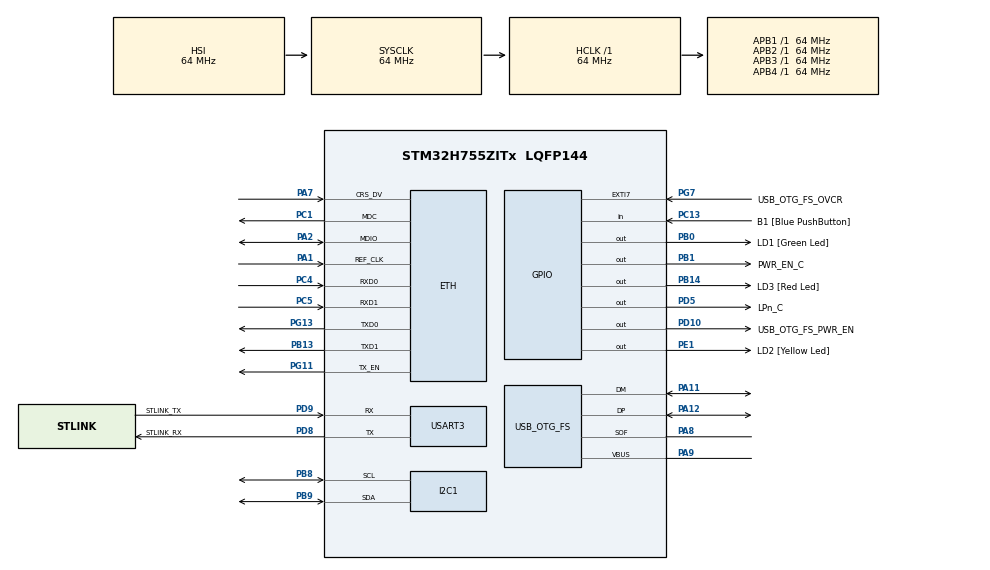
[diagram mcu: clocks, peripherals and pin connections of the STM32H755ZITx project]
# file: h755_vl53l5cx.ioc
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PH0-OSC_IN\ (PH0).PinAttribute=CortexM7
Dma.I2C1_RX.0.SyncPolarity=HAL_DMAMUX_SYNC_NO_EVENT
Dma.I2C1_TX.1.Mode=DMA_NORMAL
PB14.GPIO_Label=LD3 [Red Led]
RCC.PLLFRACN=0
Dma.I2C1_TX.1.Polarity=HAL_DMAMUX_REQ_GEN_RISING
PC5.Mode=RMII
PB13.Signal=ETH_TXD1
PG13.Signal=ETH_TXD0
PB8.PinAttribute=CortexM7
Dma.USART3_TX.2.Priority=DMA_PRIORITY_LOW
USART3.VirtualMode-Asynchronous=VM_ASYNC
Dma.USART3_TX.2.RequestNumber=1
Dma.I2C1_RX.0.PeriphDataAlignment=DMA_PDATAALIGN_BYTE
PD8.Signal=USART3_TX
Dma.USART3_TX.2.Mode=DMA_NORMAL
PE1.Signal=GPIO_Output
Dma.I2C1_RX.0.SyncRequestNumber=1
Dma.I2C1_RX.0.Mode=DMA_NORMAL
RCC.DIVM1=1
PD8.PinAttribute=CortexM7
PB1.GPIO_Label=PWR_EN_C
VP_SYS_M4_VS_Systick.Mode=SysTick
PA8.Signal=USB_OTG_FS_SOF
CortexM7.Pins=PB1,PD5
Dma.I2C1_RX.0.Direction=DMA_PERIPH_TO_MEMORY
Dma.USART3_TX.2.SignalID=NONE
Dma.I2C1_TX.1.SyncRequestNumber=1
PA7.PinAttribute=CortexM7
Mcu.Package=LQFP144
PB9.Signal=I2C1_SDA
PB1.Signal=GPIO_Output
Dma.USART3_TX.2.SyncEnable=DISABLE
RCC.PLL3FRACN=0
Dma.USART3_TX.2.SyncSignalID=NONE
PC14-OSC32_IN\ (OSC32_IN).Mode=LSE-External-Oscillator
RCC.APB4Freq_Value=64000000
PB13.Mode=RMII
PH0-OSC_IN\ (PH0).Mode=HSE-External-Clock-Source
RCC.SupplySource=PWR_DIRECT_SMPS_SUPPLY
PC4.Mode=RMII
Dma.I2C1_TX.1.PeriphDataAlignment=DMA_PDATAALIGN_BYTE
Dma.I2C1_TX.1.RequestNumber=1
Dma.I2C1_RX.0.PeriphInc=DMA_PINC_DISABLE
RCC.DIVQ1=4
PD9.GPIO_Label=STLINK_TX
PA1.PinAttribute=CortexM7
PC13.Signal=GPIO_Input
PA9.PinAttribute=CortexM7
RCC.PWR_Regulator_Voltage_Scale=PWR_REGULATOR_VOLTAGE_SCALE2
PG13.PinAttribute=CortexM7
Dma.USART3_TX.2.PeriphInc=DMA_PINC_DISABLE
PD10.Signal=GPIO_Output
PA12.PinAttribute=CortexM7
PA2.PinAttribute=CortexM7
PA9.Signal=USB_OTG_FS_VBUS
Dma.I2C1_RX.0.MemInc=DMA_MINC_ENABLE
RCC.DIVN1=24
PD8.Mode=Asynchronous
Dma.I2C1_TX.1.SyncPolarity=HAL_DMAMUX_SYNC_NO_EVENT
PB14.Signal=GPIO_Output
Dma.USART3_TX.2.SyncRequestNumber=1
PG11.PinAttribute=CortexM7
PE1.GPIO_Label=LD2 [Yellow Led]
Dma.I2C1_TX.1.Priority=DMA_PRIORITY_LOW
PB9.PinAttribute=CortexM7
PB1.PinAttribute=CortexM7
PA1.Mode=RMII
PA11.PinAttribute=CortexM7
PG7.GPIO_Label=USB_OTG_FS_OVCR
Dma.I2C1_TX.1.MemInc=DMA_MINC_ENABLE
Dma.I2C1_TX.1.SignalID=NONE
PE1.PinAttribute=Free
ETH.MediaInterface=HAL_ETH_RMII_MODE
PA8.PinAttribute=CortexM7
Dma.I2C1_TX.1.SyncSignalID=NONE
Dma.USART3_TX.2.FIFOMode=DMA_FIFOMODE_DISABLE
PG11.Mode=RMII
PA11.Signal=USB_OTG_FS_DM
Dma.I2C1_TX.1.EventEnable=DISABLE
ProjectManager.HeapSize=0x200
PD9.PinAttribute=CortexM7
NVIC1.DMA1_Stream0_IRQn=true\:0\:0\:false\:false\:true\:false\:true
Dma.USART3_TX.2.Instance=DMA1_Stream2
PB8.Mode=I2C
PA8.Mode=Activate_SOF_FS
Dma.I2C1_RX.0.EventEnable=DISABLE
PC1.PinAttribute=CortexM7
PB0.Signal=GPIO_Output
PC1.Signal=ETH_MDC
PC1.Mode=RMII
Mcu.Family=STM32H7
Dma.USART3_TX.2.SyncPolarity=HAL_DMAMUX_SYNC_NO_EVENT
RCC.CortexFreq_Value=64000000
PG7.PinAttribute=Free
PH0-OSC_IN\ (PH0).Signal=RCC_OSC_IN
PC15-OSC32_OUT\ (OSC32_OUT).Mode=LSE-External-Oscillator
PA11.Mode=Device_Only
NVIC1.I2C1_EV_IRQn=true\:0\:0\:false\:false\:true\:true\:true
PB0.GPIO_Label=LD1 [Green Led]
RCC.PLL2FRACN=0
PC13.GPIO_Label=B1 [Blue PushButton]
PD9.Mode=Asynchronous
PG11.Signal=ETH_TX_EN
ProjectManager.StackSize=0x400
Dma.I2C1_RX.0.SignalID=NONE
Dma.I2C1_TX.1.Direction=DMA_MEMORY_TO_PERIPH
Dma.USART3_TX.2.EventEnable=DISABLE
PA12.Signal=USB_OTG_FS_DP
NVIC1.I2C1_ER_IRQn=true\:0\:0\:false\:false\:true\:true\:true
RCC.HCLKFreq_Value=64000000
Dma.I2C1_TX.1.PeriphInc=DMA_PINC_DISABLE
Dma.I2C1_RX.0.Priority=DMA_PRIORITY_LOW
PB0.PinAttribute=Free
RCC.HSE_VALUE=8000000
NVIC2.PriorityGroup=NVIC_PRIORITYGROUP_4
PG13.Mode=RMII
Dma.USART3_TX.2.Polarity=HAL_DMAMUX_REQ_GEN_RISING
CortexM7.IPs=FATFS_M7\:I,FREERTOS_M7\:I,IWDG1\:I,RCC\:I,WWDG1\:I,DMA\:I,BDMA\:I,MDMA\:I,NVIC1\:I,ETH\:I,USART3\:I,USB_OTG_FS\:I,SYS\:I,CORTEX_M7\:I,DEBUG\:I,USB_DEVICE_M7\:I,USB_HOST_M7\:I,PDM2PCM_M7\:I,PWR\:I,RESMGR_UTILITY\:I,OPENAMP_M7\:I,VREFBUF\:I,I2C1\:I
PD10.PinAttribute=Free
NVIC1.DMA1_Stream2_IRQn=true\:0\:0\:false\:false\:true\:false\:true
RCC.APB3Freq_Value=64000000
PB1.PinState=GPIO_PIN_SET
PD5.GPIO_Label=LPn_C
USB_OTG_FS.VirtualMode=Device_Only
Dma.I2C1_RX.0.SyncSignalID=NONE
Dma.Request2=USART3_TX
Dma.Request1=I2C1_TX
PC5.Signal=ETH_RXD1
Dma.Request0=I2C1_RX
Dma.I2C1_TX.1.SyncEnable=DISABLE
PH1-OSC_OUT\ (PH1).PinAttribute=CortexM7
PB14.PinAttribute=Free
Dma.I2C1_RX.0.MemDataAlignment=DMA_MDATAALIGN_BYTE
Dma.USART3_TX.2.PeriphDataAlignment=DMA_PDATAALIGN_BYTE
PA7.Mode=RMII
PG7.Signal=GPXTI7
Dma.USART3_TX.2.MemInc=DMA_MINC_ENABLE
Dma.I2C1_RX.0.SyncEnable=DISABLE
PC4.Signal=ETH_RXD0
NVIC1.PriorityGroup=NVIC_PRIORITYGROUP_4
PD9.Signal=USART3_RX
PD5.Signal=GPIO_Output
Dma.I2C1_RX.0.Polarity=HAL_DMAMUX_REQ_GEN_RISING
PH1-OSC_OUT\ (PH1).Signal=RCC_OSC_OUT
PB13.PinAttribute=CortexM7
PD8.GPIO_Label=STLINK_RX
NVIC1.DMA1_Stream1_IRQn=true\:0\:0\:false\:false\:true\:false\:true
PA9.Mode=Activate_VBUS
ProjectManager.TargetToolchain=STM32CubeIDE
PC15-OSC32_OUT\ (OSC32_OUT).Signal=RCC_OSC32_OUT
PC14-OSC32_IN\ (OSC32_IN).PinAttribute=CortexM7
PB9.Mode=I2C
Dma.USART3_TX.2.Direction=DMA_MEMORY_TO_PERIPH
Dma.I2C1_TX.1.Instance=DMA1_Stream1
PC4.PinAttribute=CortexM7
RCC.USBFreq_Value=48000000
PD10.GPIO_Label=USB_OTG_FS_PWR_EN
PA1.Signal=ETH_REF_CLK
NVIC1.USART3_IRQn=true\:0\:0\:false\:false\:true\:true\:true
board=NUCLEO-H755ZI-Q
Dma.I2C1_RX.0.RequestNumber=1
Dma.I2C1_TX.1.FIFOMode=DMA_FIFOMODE_DISABLE
Dma.USART3_TX.2.MemDataAlignment=DMA_MDATAALIGN_BYTE
RCC.APB2Freq_Value=64000000
RCC.ADCFreq_Value=16125000
Dma.I2C1_TX.1.MemDataAlignment=DMA_MDATAALIGN_BYTE
PD5.PinState=GPIO_PIN_SET
Mcu.Name=STM32H755ZITx
PA2.Signal=ETH_MDIO
PC13.PinAttribute=Free
RCC.SYSCLKFreq_VALUE=64000000
PA12.Mode=Device_Only
PC14-OSC32_IN\ (OSC32_IN).Signal=RCC_OSC32_IN
Dma.I2C1_RX.0.FIFOMode=DMA_FIFOMODE_DISABLE
PD5.PinAttribute=CortexM7
PC15-OSC32_OUT\ (OSC32_OUT).PinAttribute=CortexM7
PA2.Mode=RMII
PC5.PinAttribute=CortexM7
PB8.Signal=I2C1_SCL
RCC.APB1Freq_Value=64000000
Dma.I2C1_RX.0.Instance=DMA1_Stream0
PA7.Signal=ETH_CRS_DV
CortexM4.IPs=FATFS_M4\:I,FREERTOS_M4\:I,IWDG2\:I,RCC,WWDG2\:I,DMA,BDMA,MDMA,NVIC2\:I,ETH,USART3,DEBUG,USB_DEVICE_M4\:I,USB_HOST_M4\:I,PDM2PCM_M4\:I,PWR,RESMGR_UTILITY,SYS_M4\:I,CORTEX_M4\:I,OPENAMP_M4\:I,VREFBUF,I2C1

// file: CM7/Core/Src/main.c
/* USER CODE BEGIN Header */
/**
 ******************************************************************************
 * @file           : main.c
 * @brief          : Main program body
 ******************************************************************************
 * @attention
 *
 * <h2><center>&copy; Copyright (c) 2021 STMicroelectronics.
 * All rights reserved.</center></h2>
 *
 * This software component is licensed by ST under BSD 3-Clause license,
 * the "License"; You may not use this file except in compliance with the
 * License. You may obtain a copy of the License at:
 *                        opensource.org/licenses/BSD-3-Clause
 *
 ******************************************************************************
 */
/* USER CODE END Header */
#include "main.h"
#include "string.h"

/* USER CODE BEGIN Includes */
// NCS BEGIN
#include <stdio.h>
#include "vl53l5cx_api.h"
#include "vl53l5cx_plugin_async.h"
// NCS END
/* USER CODE END Includes */

/* USER CODE BEGIN PD */

#ifndef HSEM_ID_0
#define HSEM_ID_0 (0U) /* HW semaphore 0*/
#endif
/* USER CODE END PD */

#if defined ( __ICCARM__ ) /*!< IAR Compiler */

#pragma location=0x30040000
ETH_DMADescTypeDef  DMARxDscrTab[ETH_RX_DESC_CNT]; /* Ethernet Rx DMA Descriptors */
#pragma location=0x30040060
ETH_DMADescTypeDef  DMATxDscrTab[ETH_TX_DESC_CNT]; /* Ethernet Tx DMA Descriptors */
#pragma location=0x30040200
uint8_t Rx_Buff[ETH_RX_DESC_CNT][ETH_MAX_PACKET_SIZE]; /* Ethernet Receive Buffers */

#elif defined ( __CC_ARM )  /* MDK ARM Compiler */

__attribute__((at(0x30040000))) ETH_DMADescTypeDef  DMARxDscrTab[ETH_RX_DESC_CNT]; /* Ethernet Rx DMA Descriptors */
__attribute__((at(0x30040060))) ETH_DMADescTypeDef  DMATxDscrTab[ETH_TX_DESC_CNT]; /* Ethernet Tx DMA Descriptors */
__attribute__((at(0x30040200))) uint8_t Rx_Buff[ETH_RX_DESC_CNT][ETH_MAX_PACKET_SIZE]; /* Ethernet Receive Buffer */

#elif defined ( __GNUC__ ) /* GNU Compiler */

ETH_DMADescTypeDef DMARxDscrTab[ETH_RX_DESC_CNT] __attribute__((section(".RxDecripSection"))); /* Ethernet Rx DMA Descriptors */
ETH_DMADescTypeDef DMATxDscrTab[ETH_TX_DESC_CNT] __attribute__((section(".TxDecripSection"))); /* Ethernet Tx DMA Descriptors */
uint8_t Rx_Buff[ETH_RX_DESC_CNT][ETH_MAX_PACKET_SIZE] __attribute__((section(".RxArraySection"))); /* Ethernet Receive Buffers */

#endif

ETH_TxPacketConfig TxConfig;

ETH_HandleTypeDef heth;

I2C_HandleTypeDef hi2c1;
DMA_HandleTypeDef hdma_i2c1_rx;
DMA_HandleTypeDef hdma_i2c1_tx;

UART_HandleTypeDef huart3;
DMA_HandleTypeDef hdma_usart3_tx;

PCD_HandleTypeDef hpcd_USB_OTG_FS;

/* USER CODE BEGIN PV */
VL53L5CX_Configuration vl53l5cx;
/* USER CODE END PV */

void SystemClock_Config(void);
static void MX_GPIO_Init(void);
static void MX_DMA_Init(void);
static void MX_ETH_Init(void);
static void MX_USART3_UART_Init(void);
static void MX_USB_OTG_FS_PCD_Init(void);
static void MX_I2C1_Init(void);

/* USER CODE BEGIN 0 */
// NCS BEGIN
void HAL_I2C_MemRxCpltCallback(I2C_HandleTypeDef *hi2c)
{
	// First we determine if the i2c interrupt came from a "check_data_ready" or "get_ranging_data" request.
	// This is done via the *_in_progress calls.
	if (vl53l5cx_check_data_ready_async_in_progress(&vl53l5cx))
	{
		uint8_t ready = 0;
		// Collect the response. True if the sensor have data ready to be read.
		vl53l5cx_check_data_ready_async_finish(&vl53l5cx, &ready);
		if (ready)
		{
			vl53l5cx_get_ranging_data_async_start(&vl53l5cx); // Send request to read ranging data
		}
		else
		{
			vl53l5cx_check_data_ready_async_start(&vl53l5cx); // Try again to ask if data is ready
		}
	}

	else if (vl53l5cx_get_ranging_data_async_in_progress(&vl53l5cx)) // Check if last request was a "get_ranging_data" request
	{
		VL53L5CX_ResultsData data;
		vl53l5cx_get_ranging_data_async_finish(&vl53l5cx, &data); // Read the ranging data from the buffer where it is stored.
		static char buf[32];
		sprintf(buf, "distance: %i\n", data.distance_mm[28]);
		HAL_UART_Transmit_DMA(&huart3, (uint8_t*) buf, strlen(buf)); // Sends the data over uart for pc to receive
		vl53l5cx_check_data_ready_async_start(&vl53l5cx); // Check if sensor is ready for a new measurement to be read.
	}
}
// NCS END

/* USER CODE END 0 */

int main(void)
{
	/* USER CODE BEGIN Boot_Mode_Sequence_0 */
	int32_t timeout;
	/* USER CODE END Boot_Mode_Sequence_0 */

	/* USER CODE BEGIN Boot_Mode_Sequence_1 */
	/* Wait until CPU2 boots and enters in stop mode or timeout*/
	timeout = 0xFFFF;
	while ((__HAL_RCC_GET_FLAG(RCC_FLAG_D2CKRDY) != RESET) && (timeout-- > 0))
		;
	if (timeout < 0)
	{
		Error_Handler();
	}
	/* USER CODE END Boot_Mode_Sequence_1 */
	/* MCU Configuration--------------------------------------------------------*/

	/* Reset of all peripherals, Initializes the Flash interface and the Systick. */
	HAL_Init();

	/* Configure the system clock */
	SystemClock_Config();
	/* USER CODE BEGIN Boot_Mode_Sequence_2 */
	/* When system initialization is finished, Cortex-M7 will release Cortex-M4 by means of
	 HSEM notification */
	/*HW semaphore Clock enable*/
	__HAL_RCC_HSEM_CLK_ENABLE();
	/*Take HSEM */
	HAL_HSEM_FastTake(HSEM_ID_0);
	/*Release HSEM in order to notify the CPU2(CM4)*/
	HAL_HSEM_Release(HSEM_ID_0, 0);
	/* wait until CPU2 wakes up from stop mode */
	timeout = 0xFFFF;
	while ((__HAL_RCC_GET_FLAG(RCC_FLAG_D2CKRDY) == RESET) && (timeout-- > 0))
		;
	if (timeout < 0)
	{
		Error_Handler();
	}
	/* USER CODE END Boot_Mode_Sequence_2 */

	/* Initialize all configured peripherals */
	MX_GPIO_Init();
	MX_DMA_Init();
	MX_ETH_Init();
	MX_USART3_UART_Init();
	MX_USB_OTG_FS_PCD_Init();
	MX_I2C1_Init();
	/* USER CODE BEGIN 2 */

	// NCS BEGIN

	// Specify what i2c peripheral to communicate via
	vl53l5cx.platform.hi2c = &hi2c1;
	vl53l5cx.platform.address = VL53L5CX_DEFAULT_I2C_ADDRESS; //0x52 is standard i2c address

	uint8_t is_alive = 0;
	vl53l5cx_is_alive(&vl53l5cx, &is_alive); // Successful i2c message sent and received
	if (!is_alive)
	{
		return 1;
	}
	vl53l5cx_init(&vl53l5cx); // Mandatory init function, flashes necessary firmware to the sensor.
	/*
	 * Configuration of the sensor
	 */
	vl53l5cx_set_ranging_frequency_hz(&vl53l5cx, 5);
	vl53l5cx_set_resolution(&vl53l5cx, VL53L5CX_RESOLUTION_8X8);
	vl53l5cx_set_ranging_mode(&vl53l5cx, VL53L5CX_RANGING_MODE_CONTINUOUS);

	vl53l5cx_start_ranging(&vl53l5cx); // Tell the sensor to start doing measurment

	// Start an async process to determine if the sensor has a measurement ready to be read.
	// HAL_I2C_MemRxCpltCallback will be the interrupt called when the sensor has answered whether it is ready or not.
	vl53l5cx_check_data_ready_async_start(&vl53l5cx);

	// NCS END

	/* USER CODE END 2 */

	/* Infinite loop */
	while (1)
	{

	}
}

void SystemClock_Config(void)
{
	RCC_OscInitTypeDef RCC_OscInitStruct =
	{ 0 };
	RCC_ClkInitTypeDef RCC_ClkInitStruct =
	{ 0 };

	/** Supply configuration update enable
	 */
	HAL_PWREx_ConfigSupply(PWR_DIRECT_SMPS_SUPPLY);
	/** Configure the main internal regulator output voltage
	 */
	__HAL_PWR_VOLTAGESCALING_CONFIG(PWR_REGULATOR_VOLTAGE_SCALE2);

	while (!__HAL_PWR_GET_FLAG(PWR_FLAG_VOSRDY))
	{
	}
	/** Initializes the RCC Oscillators according to the specified parameters
	 * in the RCC_OscInitTypeDef structure.
	 */
	RCC_OscInitStruct.OscillatorType = RCC_OSCILLATORTYPE_HSI
			| RCC_OSCILLATORTYPE_HSE;
	RCC_OscInitStruct.HSEState = RCC_HSE_BYPASS;
	RCC_OscInitStruct.HSIState = RCC_HSI_DIV1;
	RCC_OscInitStruct.HSICalibrationValue = RCC_HSICALIBRATION_DEFAULT;
	RCC_OscInitStruct.PLL.PLLState = RCC_PLL_ON;
	RCC_OscInitStruct.PLL.PLLSource = RCC_PLLSOURCE_HSE;
	RCC_OscInitStruct.PLL.PLLM = 1;
	RCC_OscInitStruct.PLL.PLLN = 24;
	RCC_OscInitStruct.PLL.PLLP = 2;
	RCC_OscInitStruct.PLL.PLLQ = 4;
	RCC_OscInitStruct.PLL.PLLR = 2;
	RCC_OscInitStruct.PLL.PLLRGE = RCC_PLL1VCIRANGE_3;
	RCC_OscInitStruct.PLL.PLLVCOSEL = RCC_PLL1VCOWIDE;
	RCC_OscInitStruct.PLL.PLLFRACN = 0;
	if (HAL_RCC_OscConfig(&RCC_OscInitStruct) != HAL_OK)
	{
		Error_Handler();
	}
	/** Initializes the CPU, AHB and APB buses clocks
	 */
	RCC_ClkInitStruct.ClockType = RCC_CLOCKTYPE_HCLK | RCC_CLOCKTYPE_SYSCLK
			| RCC_CLOCKTYPE_PCLK1 | RCC_CLOCKTYPE_PCLK2 | RCC_CLOCKTYPE_D3PCLK1
			| RCC_CLOCKTYPE_D1PCLK1;
	RCC_ClkInitStruct.SYSCLKSource = RCC_SYSCLKSOURCE_HSI;
	RCC_ClkInitStruct.SYSCLKDivider = RCC_SYSCLK_DIV1;
	RCC_ClkInitStruct.AHBCLKDivider = RCC_HCLK_DIV1;
	RCC_ClkInitStruct.APB3CLKDivider = RCC_APB3_DIV1;
	RCC_ClkInitStruct.APB1CLKDivider = RCC_APB1_DIV1;
	RCC_ClkInitStruct.APB2CLKDivider = RCC_APB2_DIV1;
	RCC_ClkInitStruct.APB4CLKDivider = RCC_APB4_DIV1;

	if (HAL_RCC_ClockConfig(&RCC_ClkInitStruct, FLASH_LATENCY_1) != HAL_OK)
	{
		Error_Handler();
	}
}

static void MX_ETH_Init(void)
{

	heth.Instance = ETH;
	heth.Init.MACAddr[0] = 0x00;
	heth.Init.MACAddr[1] = 0x80;
	heth.Init.MACAddr[2] = 0xE1;
	heth.Init.MACAddr[3] = 0x00;
	heth.Init.MACAddr[4] = 0x00;
	heth.Init.MACAddr[5] = 0x00;
	heth.Init.MediaInterface = HAL_ETH_RMII_MODE;
	heth.Init.TxDesc = DMATxDscrTab;
	heth.Init.RxDesc = DMARxDscrTab;
	heth.Init.RxBuffLen = 1524;

	if (HAL_ETH_Init(&heth) != HAL_OK)
	{
		Error_Handler();
	}

	memset(&TxConfig, 0, sizeof(ETH_TxPacketConfig));
	TxConfig.Attributes = ETH_TX_PACKETS_FEATURES_CSUM
			| ETH_TX_PACKETS_FEATURES_CRCPAD;
	TxConfig.ChecksumCtrl = ETH_CHECKSUM_IPHDR_PAYLOAD_INSERT_PHDR_CALC;
	TxConfig.CRCPadCtrl = ETH_CRC_PAD_INSERT;

}

static void MX_I2C1_Init(void)
{

	hi2c1.Instance = I2C1;
	hi2c1.Init.Timing = 0x10707DBC;
	hi2c1.Init.OwnAddress1 = 0;
	hi2c1.Init.AddressingMode = I2C_ADDRESSINGMODE_7BIT;
	hi2c1.Init.DualAddressMode = I2C_DUALADDRESS_DISABLE;
	hi2c1.Init.OwnAddress2 = 0;
	hi2c1.Init.OwnAddress2Masks = I2C_OA2_NOMASK;
	hi2c1.Init.GeneralCallMode = I2C_GENERALCALL_DISABLE;
	hi2c1.Init.NoStretchMode = I2C_NOSTRETCH_DISABLE;
	if (HAL_I2C_Init(&hi2c1) != HAL_OK)
	{
		Error_Handler();
	}
	/** Configure Analogue filter
	 */
	if (HAL_I2CEx_ConfigAnalogFilter(&hi2c1, I2C_ANALOGFILTER_ENABLE) != HAL_OK)
	{
		Error_Handler();
	}
	/** Configure Digital filter
	 */
	if (HAL_I2CEx_ConfigDigitalFilter(&hi2c1, 0) != HAL_OK)
	{
		Error_Handler();
	}

}

static void MX_USART3_UART_Init(void)
{

	huart3.Instance = USART3;
	huart3.Init.BaudRate = 115200;
	huart3.Init.WordLength = UART_WORDLENGTH_8B;
	huart3.Init.StopBits = UART_STOPBITS_1;
	huart3.Init.Parity = UART_PARITY_NONE;
	huart3.Init.Mode = UART_MODE_TX_RX;
	huart3.Init.HwFlowCtl = UART_HWCONTROL_NONE;
	huart3.Init.OverSampling = UART_OVERSAMPLING_16;
	huart3.Init.OneBitSampling = UART_ONE_BIT_SAMPLE_DISABLE;
	huart3.Init.ClockPrescaler = UART_PRESCALER_DIV1;
	huart3.AdvancedInit.AdvFeatureInit = UART_ADVFEATURE_NO_INIT;
	if (HAL_UART_Init(&huart3) != HAL_OK)
	{
		Error_Handler();
	}
	if (HAL_UARTEx_SetTxFifoThreshold(&huart3, UART_TXFIFO_THRESHOLD_1_8)
			!= HAL_OK)
	{
		Error_Handler();
	}
	if (HAL_UARTEx_SetRxFifoThreshold(&huart3, UART_RXFIFO_THRESHOLD_1_8)
			!= HAL_OK)
	{
		Error_Handler();
	}
	if (HAL_UARTEx_DisableFifoMode(&huart3) != HAL_OK)
	{
		Error_Handler();
	}

}

static void MX_USB_OTG_FS_PCD_Init(void)
{

	hpcd_USB_OTG_FS.Instance = USB_OTG_FS;
	hpcd_USB_OTG_FS.Init.dev_endpoints = 9;
	hpcd_USB_OTG_FS.Init.speed = PCD_SPEED_FULL;
	hpcd_USB_OTG_FS.Init.dma_enable = DISABLE;
	hpcd_USB_OTG_FS.Init.phy_itface = PCD_PHY_EMBEDDED;
	hpcd_USB_OTG_FS.Init.Sof_enable = DISABLE;
	hpcd_USB_OTG_FS.Init.low_power_enable = DISABLE;
	hpcd_USB_OTG_FS.Init.lpm_enable = DISABLE;
	hpcd_USB_OTG_FS.Init.battery_charging_enable = ENABLE;
	hpcd_USB_OTG_FS.Init.vbus_sensing_enable = ENABLE;
	hpcd_USB_OTG_FS.Init.use_dedicated_ep1 = DISABLE;
	if (HAL_PCD_Init(&hpcd_USB_OTG_FS) != HAL_OK)
	{
		Error_Handler();
	}

}

static void MX_DMA_Init(void)
{

	/* DMA controller clock enable */
	__HAL_RCC_DMA1_CLK_ENABLE();

	/* DMA interrupt init */
	/* DMA1_Stream0_IRQn interrupt configuration */
	HAL_NVIC_SetPriority(DMA1_Stream0_IRQn, 0, 0);
	HAL_NVIC_EnableIRQ(DMA1_Stream0_IRQn);
	/* DMA1_Stream1_IRQn interrupt configuration */
	HAL_NVIC_SetPriority(DMA1_Stream1_IRQn, 0, 0);
	HAL_NVIC_EnableIRQ(DMA1_Stream1_IRQn);
	/* DMA1_Stream2_IRQn interrupt configuration */
	HAL_NVIC_SetPriority(DMA1_Stream2_IRQn, 0, 0);
	HAL_NVIC_EnableIRQ(DMA1_Stream2_IRQn);

}

static void MX_GPIO_Init(void)
{
	GPIO_InitTypeDef GPIO_InitStruct =
	{ 0 };

	/* GPIO Ports Clock Enable */
	__HAL_RCC_GPIOC_CLK_ENABLE();
	__HAL_RCC_GPIOH_CLK_ENABLE();
	__HAL_RCC_GPIOA_CLK_ENABLE();
	__HAL_RCC_GPIOB_CLK_ENABLE();
	__HAL_RCC_GPIOD_CLK_ENABLE();
	__HAL_RCC_GPIOG_CLK_ENABLE();

	/*Configure GPIO pin Output Level */
	HAL_GPIO_WritePin(PWR_EN_C_GPIO_Port, PWR_EN_C_Pin, GPIO_PIN_SET);

	/*Configure GPIO pin Output Level */
	HAL_GPIO_WritePin(LPn_C_GPIO_Port, LPn_C_Pin, GPIO_PIN_SET);

	/*Configure GPIO pin : PWR_EN_C_Pin */
	GPIO_InitStruct.Pin = PWR_EN_C_Pin;
	GPIO_InitStruct.Mode = GPIO_MODE_OUTPUT_PP;
	GPIO_InitStruct.Pull = GPIO_NOPULL;
	GPIO_InitStruct.Speed = GPIO_SPEED_FREQ_LOW;
	HAL_GPIO_Init(PWR_EN_C_GPIO_Port, &GPIO_InitStruct);

	/*Configure GPIO pin : LPn_C_Pin */
	GPIO_InitStruct.Pin = LPn_C_Pin;
	GPIO_InitStruct.Mode = GPIO_MODE_OUTPUT_PP;
	GPIO_InitStruct.Pull = GPIO_NOPULL;
	GPIO_InitStruct.Speed = GPIO_SPEED_FREQ_LOW;
	HAL_GPIO_Init(LPn_C_GPIO_Port, &GPIO_InitStruct);

}

void Error_Handler(void)
{
	__disable_irq();
	while (1)
	{
	}
}

/************************ (C) COPYRIGHT STMicroelectronics *****END OF FILE****/
